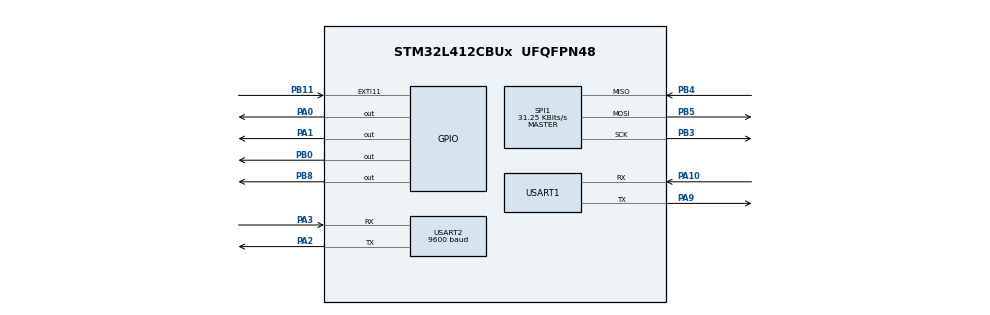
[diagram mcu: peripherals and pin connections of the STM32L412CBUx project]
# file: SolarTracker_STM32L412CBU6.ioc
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FREERTOS.CountingSemaphores01=spi_sem,1,Dynamic,NULL;uart_sem,1,Dynamic,NULL;external_sem,1,Dynamic,NULL
FREERTOS.Mutexes01=spi_mutex,Dynamic,NULL
FREERTOS.Tasks01=uart1Task,0,512,Startuart1Task,Default,NULL,Dynamic,NULL,NULL;uart2Task,0,512,Startuart2Task,Default,NULL,Dynamic,NULL,NULL;spi1Task,0,512,startspi1Task,Default,NULL,Dynamic,NULL,NULL
FREERTOS.configTOTAL_HEAP_SIZE=10000
FREERTOS.configUSE_COUNTING_SEMAPHORES=1
FREERTOS.configUSE_MUTEXES=1
FREERTOS.configUSE_NEWLIB_REENTRANT=1
Mcu.Family=STM32L4
Mcu.Name=STM32L412CBUx
Mcu.Package=UFQFPN48
NVIC.EXTI15_10_IRQn=true\:5\:0\:false\:false\:true\:true\:true\:true\:true
NVIC.PriorityGroup=NVIC_PRIORITYGROUP_4
NVIC.SPI1_IRQn=true\:5\:0\:false\:false\:true\:true\:true\:true\:true
NVIC.TIM1_UP_TIM16_IRQn=true\:15\:0\:false\:false\:true\:false\:false\:true\:true
NVIC.TimeBase=TIM1_UP_TIM16_IRQn
NVIC.TimeBaseIP=TIM1
PA0.Signal=GPIO_Output
PA1.Signal=GPIO_Output
PA10.Mode=Asynchronous
PA10.Signal=USART1_RX
PA13\ (JTMS/SWDIO).Mode=Serial_Wire
PA13\ (JTMS/SWDIO).Signal=SYS_JTMS-SWDIO
PA14\ (JTCK/SWCLK).Mode=Serial_Wire
PA14\ (JTCK/SWCLK).Signal=SYS_JTCK-SWCLK
PA2.Mode=Asynchronous
PA2.Signal=USART2_TX
PA3.Mode=Asynchronous
PA3.Signal=USART2_RX
PA9.Mode=Asynchronous
PA9.Signal=USART1_TX
PB0.Signal=GPIO_Output
PB11.GPIO_PuPd=GPIO_PULLDOWN
PB11.Signal=GPXTI11
PB3\ (JTDO/TRACESWO).Mode=Full_Duplex_Master
PB3\ (JTDO/TRACESWO).Signal=SPI1_SCK
PB4\ (NJTRST).Mode=Full_Duplex_Master
PB4\ (NJTRST).Signal=SPI1_MISO
PB5.Mode=Full_Duplex_Master
PB5.Signal=SPI1_MOSI
PB8.Signal=GPIO_Output
PC14-OSC32_IN\ (PC14).Mode=LSE-External-Oscillator
PC14-OSC32_IN\ (PC14).Signal=RCC_OSC32_IN
PC15-OSC32_OUT\ (PC15).Mode=LSE-External-Oscillator
PC15-OSC32_OUT\ (PC15).Signal=RCC_OSC32_OUT
ProjectManager.HeapSize=0x200
ProjectManager.StackSize=0x400
ProjectManager.TargetToolchain=STM32CubeIDE
RCC.ADCFreq_Value=4000000
RCC.HSE_VALUE=8000000
RCC.HSI48_VALUE=48000000
RCC.HSI_VALUE=16000000
RCC.MSI_VALUE=4000000
RCC.USBFreq_Value=4000000
RCC.VCOOutputFreq_Value=32000000
SPI1.BaudRatePrescaler=SPI_BAUDRATEPRESCALER_128
SPI1.CalculateBaudRate=31.25 KBits/s
SPI1.DataSize=SPI_DATASIZE_8BIT
SPI1.Direction=SPI_DIRECTION_2LINES
SPI1.Mode=SPI_MODE_MASTER
SPI1.NSSPMode=SPI_NSS_PULSE_DISABLE
SPI1.VirtualType=VM_MASTER
USART1.VirtualMode-Asynchronous=VM_ASYNC
USART2.BaudRate=9600
USART2.VirtualMode-Asynchronous=VM_ASYNC
VP_FREERTOS_VS_CMSIS_V1.Mode=CMSIS_V1
VP_SYS_VS_tim1.Mode=TIM1
board=custom

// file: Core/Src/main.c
/* USER CODE BEGIN Header */
/**
  ******************************************************************************
  * @file           : main.c
  * @brief          : Main program body
  ******************************************************************************
  * @attention
  *
  * Copyright (c) 2022 STMicroelectronics.
  * All rights reserved.
  *
  * This software is licensed under terms that can be found in the LICENSE file
  * in the root directory of this software component.
  * If no LICENSE file comes with this software, it is provided AS-IS.
  *
  ******************************************************************************
  */
/* USER CODE END Header */
#include "main.h"
#include "cmsis_os.h"

/* USER CODE BEGIN Includes */
#include <stdio.h>
#include <string.h>
#include <stdlib.h>
/* USER CODE END Includes */

/* USER CODE BEGIN PD */
#define NMEA_LEN	80
/* USER CODE END PD */

/* USER CODE BEGIN PM */
#define FIND_AND_NUL(s, p, c) ( \
   (p) = strchr(s, c), \
   *(p) = '\0', \
   ++(p), \
   (p))
/* USER CODE END PM */

 SPI_HandleTypeDef hspi1;

UART_HandleTypeDef huart1;
UART_HandleTypeDef huart2;

osThreadId uart1TaskHandle;
osThreadId uart2TaskHandle;
osThreadId spi1TaskHandle;
osMutexId spi_mutexHandle;
osSemaphoreId spi_semHandle;
osSemaphoreId uart_semHandle;
osSemaphoreId external_semHandle;
/* USER CODE BEGIN PV */

// FM25V02A FRAM SPI Commands
const uint8_t READ = 0b00000011;
const uint8_t WRITE = 0b00000010;
const uint8_t WREN = 0b00000110;
const uint8_t RDSR = 0b00000101;
const uint8_t WRSR = 0b00000001;
const uint8_t FSTRD = 0b00001011;
const uint8_t SLEEP = 0b10111001;
const uint8_t RDID = 0b10011111;

SerialBuffer SerialBufferReceived;
SerialBuffer test_spi_buf;
volatile uint32_t tim1_counter = 0;
/* USER CODE END PV */

void SystemClock_Config(void);
static void MX_GPIO_Init(void);
static void MX_SPI1_Init(void);
static void MX_USART1_UART_Init(void);
static void MX_USART2_UART_Init(void);
void Startuart1Task(void const * argument);
void Startuart2Task(void const * argument);
void startspi1Task(void const * argument);

/* USER CODE BEGIN PFP */
static uint16_t Buffercmp(uint8_t* pBuffer1, uint8_t* pBuffer2, uint16_t BufferLength);
float GpsToDecimalDegrees(char* nmeaPos, char quadrant);
/* USER CODE END PFP */

/* USER CODE BEGIN 0 */
QueueHandle_t xQueueSerialDataReceived;

/**
 * Convert NMEA absolute position to decimal degrees
 * "ddmm.mmmm" or "dddmm.mmmm" really is D+M/60,
 * then negated if quadrant is 'W' or 'S'
 */
float GpsToDecimalDegrees(char* nmeaPos, char quadrant)
{
  float v= 0;
  if(strlen(nmeaPos)>5)
  {
    char integerPart[3+1];
    int digitCount= (nmeaPos[4]=='.' ? 2 : 3);
    memcpy(integerPart, nmeaPos, digitCount);
    integerPart[digitCount]= 0;
    nmeaPos+= digitCount;
    v= atoi(integerPart) + atof(nmeaPos)/60.;
    if(quadrant=='W' || quadrant=='S')
      v= -v;
  }
  return v;
}

/* USER CODE END 0 */

int main(void)
{

  /* MCU Configuration--------------------------------------------------------*/

  /* Reset of all peripherals, Initializes the Flash interface and the Systick. */
  HAL_Init();

  /* Configure the system clock */
  SystemClock_Config();

  /* Initialize all configured peripherals */
  MX_GPIO_Init();
  MX_SPI1_Init();
  MX_USART1_UART_Init();
  MX_USART2_UART_Init();
  /* USER CODE BEGIN 2 */

  //Enable Uart Interrupts
  HAL_NVIC_SetPriority(USART_GPS_IRQn, 12, 0);
  HAL_NVIC_EnableIRQ(USART_GPS_IRQn);
  USART_GPS->CR1 |= USART_CR1_RXNEIE; // Enable Interrupt
  HAL_NVIC_SetPriorityGrouping(NVIC_PRIORITYGROUP_4);

  /* USER CODE END 2 */

  /* Create the mutex(es) */
  /* definition and creation of spi_mutex */
  osMutexDef(spi_mutex);
  spi_mutexHandle = osMutexCreate(osMutex(spi_mutex));

  /* Create the semaphores(s) */
//  /* definition and creation of spi_sem */
//  osSemaphoreDef(spi_sem);
//  spi_semHandle = osSemaphoreCreate(osSemaphore(spi_sem), 1);
//
//  /* definition and creation of uart_sem */
//  osSemaphoreDef(uart_sem);
//  uart_semHandle = osSemaphoreCreate(osSemaphore(uart_sem), 1);
//
//  /* definition and creation of external_sem */
//  osSemaphoreDef(external_sem);
//  external_semHandle = osSemaphoreCreate(osSemaphore(external_sem), 1);

  /* USER CODE BEGIN RTOS_SEMAPHORES */
  /* add semaphores, ... */
  spi_semHandle = xSemaphoreCreateCounting( 1, 0 );
  uart_semHandle = xSemaphoreCreateCounting( 1, 1 );
  external_semHandle = xSemaphoreCreateCounting( 1, 0 );
  /* USER CODE END RTOS_SEMAPHORES */

  /* USER CODE BEGIN RTOS_QUEUES */
  /* add queues, ... */
  xQueueSerialDataReceived = xQueueCreate( 2, sizeof( SerialBuffer) );
  /* USER CODE END RTOS_QUEUES */

  /* Create the thread(s) */
  /* definition and creation of uart1Task */
  osThreadDef(uart1Task, Startuart1Task, osPriorityHigh, 0, 512);
  uart1TaskHandle = osThreadCreate(osThread(uart1Task), NULL);

  /* definition and creation of uart2Task */
  osThreadDef(uart2Task, Startuart2Task, osPriorityNormal, 0, 512);
  uart2TaskHandle = osThreadCreate(osThread(uart2Task), NULL);

  /* definition and creation of spi1Task */
  osThreadDef(spi1Task, startspi1Task, osPriorityNormal, 0, 512);
  spi1TaskHandle = osThreadCreate(osThread(spi1Task), NULL);

  /* Start scheduler */
  osKernelStart();

  /* We should never get here as control is now taken by the scheduler */
  /* Infinite loop */
  while (1)
  {

  }
}

void SystemClock_Config(void)
{
  RCC_OscInitTypeDef RCC_OscInitStruct = {0};
  RCC_ClkInitTypeDef RCC_ClkInitStruct = {0};

  /** Configure the main internal regulator output voltage
  */
  if (HAL_PWREx_ControlVoltageScaling(PWR_REGULATOR_VOLTAGE_SCALE1) != HAL_OK)
  {
    Error_Handler();
  }

  /** Configure LSE Drive Capability
  */
  HAL_PWR_EnableBkUpAccess();
  __HAL_RCC_LSEDRIVE_CONFIG(RCC_LSEDRIVE_LOW);

  /** Initializes the RCC Oscillators according to the specified parameters
  * in the RCC_OscInitTypeDef structure.
  */
  RCC_OscInitStruct.OscillatorType = RCC_OSCILLATORTYPE_LSE|RCC_OSCILLATORTYPE_MSI;
  RCC_OscInitStruct.LSEState = RCC_LSE_ON;
  RCC_OscInitStruct.MSIState = RCC_MSI_ON;
  RCC_OscInitStruct.MSICalibrationValue = 0;
  RCC_OscInitStruct.MSIClockRange = RCC_MSIRANGE_6;
  RCC_OscInitStruct.PLL.PLLState = RCC_PLL_NONE;
  if (HAL_RCC_OscConfig(&RCC_OscInitStruct) != HAL_OK)
  {
    Error_Handler();
  }

  /** Initializes the CPU, AHB and APB buses clocks
  */
  RCC_ClkInitStruct.ClockType = RCC_CLOCKTYPE_HCLK|RCC_CLOCKTYPE_SYSCLK
                              |RCC_CLOCKTYPE_PCLK1|RCC_CLOCKTYPE_PCLK2;
  RCC_ClkInitStruct.SYSCLKSource = RCC_SYSCLKSOURCE_MSI;
  RCC_ClkInitStruct.AHBCLKDivider = RCC_SYSCLK_DIV1;
  RCC_ClkInitStruct.APB1CLKDivider = RCC_HCLK_DIV1;
  RCC_ClkInitStruct.APB2CLKDivider = RCC_HCLK_DIV1;

  if (HAL_RCC_ClockConfig(&RCC_ClkInitStruct, FLASH_LATENCY_0) != HAL_OK)
  {
    Error_Handler();
  }

  /** Enable MSI Auto calibration
  */
  HAL_RCCEx_EnableMSIPLLMode();
}

static void MX_SPI1_Init(void)
{

  /* SPI1 parameter configuration*/
  hspi1.Instance = SPI1;
  hspi1.Init.Mode = SPI_MODE_MASTER;
  hspi1.Init.Direction = SPI_DIRECTION_2LINES;
  hspi1.Init.DataSize = SPI_DATASIZE_8BIT;
  hspi1.Init.CLKPolarity = SPI_POLARITY_LOW;
  hspi1.Init.CLKPhase = SPI_PHASE_1EDGE;
  hspi1.Init.NSS = SPI_NSS_SOFT;
  hspi1.Init.BaudRatePrescaler = SPI_BAUDRATEPRESCALER_256; //TODO Check if this does anything
  hspi1.Init.FirstBit = SPI_FIRSTBIT_MSB;
  hspi1.Init.TIMode = SPI_TIMODE_DISABLE;
  hspi1.Init.CRCCalculation = SPI_CRCCALCULATION_DISABLE;
  hspi1.Init.CRCPolynomial = 7;
  hspi1.Init.CRCLength = SPI_CRC_LENGTH_DATASIZE;
  hspi1.Init.NSSPMode = SPI_NSS_PULSE_DISABLE;
  if (HAL_SPI_Init(&hspi1) != HAL_OK)
  {
    Error_Handler();
  }
  /* USER CODE BEGIN SPI1_Init 2 */
  SPI1->CR1 |= SPI_CR1_SSM;
  /* USER CODE END SPI1_Init 2 */

}

static void MX_USART1_UART_Init(void)
{

  huart1.Instance = USART1;
  huart1.Init.BaudRate = 9600;
  huart1.Init.WordLength = UART_WORDLENGTH_8B;
  huart1.Init.StopBits = UART_STOPBITS_1;
  huart1.Init.Parity = UART_PARITY_NONE;
  huart1.Init.Mode = UART_MODE_TX_RX;
  huart1.Init.HwFlowCtl = UART_HWCONTROL_NONE;
  huart1.Init.OverSampling = UART_OVERSAMPLING_16;
  huart1.Init.OneBitSampling = UART_ONE_BIT_SAMPLE_DISABLE;
  huart1.AdvancedInit.AdvFeatureInit = UART_ADVFEATURE_NO_INIT;
  if (HAL_UART_Init(&huart1) != HAL_OK)
  {
    Error_Handler();
  }

}

static void MX_USART2_UART_Init(void)
{

  huart2.Instance = USART2;
  huart2.Init.BaudRate = 9600;
  huart2.Init.WordLength = UART_WORDLENGTH_8B;
  huart2.Init.StopBits = UART_STOPBITS_1;
  huart2.Init.Parity = UART_PARITY_NONE;
  huart2.Init.Mode = UART_MODE_TX_RX;
  huart2.Init.HwFlowCtl = UART_HWCONTROL_NONE;
  huart2.Init.OverSampling = UART_OVERSAMPLING_16;
  huart2.Init.OneBitSampling = UART_ONE_BIT_SAMPLE_DISABLE;
  huart2.AdvancedInit.AdvFeatureInit = UART_ADVFEATURE_NO_INIT;
  if (HAL_UART_Init(&huart2) != HAL_OK)
  {
    Error_Handler();
  }

}

static void MX_GPIO_Init(void)
{
  GPIO_InitTypeDef GPIO_InitStruct = {0};

  /* GPIO Ports Clock Enable */
  __HAL_RCC_GPIOC_CLK_ENABLE();
  __HAL_RCC_GPIOA_CLK_ENABLE();
  __HAL_RCC_GPIOB_CLK_ENABLE();

  /*Configure GPIO pin Output Level */
  HAL_GPIO_WritePin(GPIOA, GPIO_PIN_0|GPIO_PIN_1, GPIO_PIN_RESET);

  /*Configure GPIO pin Output Level */
  HAL_GPIO_WritePin(GPIOB, GPIO_PIN_0|GPIO_PIN_8, GPIO_PIN_RESET);

  /*Configure GPIO pins : PA0 PA1 */
  GPIO_InitStruct.Pin = GPIO_PIN_0|GPIO_PIN_1;
  GPIO_InitStruct.Mode = GPIO_MODE_OUTPUT_PP;
  GPIO_InitStruct.Pull = GPIO_NOPULL;
  GPIO_InitStruct.Speed = GPIO_SPEED_FREQ_LOW;
  HAL_GPIO_Init(GPIOA, &GPIO_InitStruct);

  /*Configure GPIO pins : PB0 PB8 */
  GPIO_InitStruct.Pin = GPIO_PIN_0|GPIO_PIN_8;
  GPIO_InitStruct.Mode = GPIO_MODE_OUTPUT_PP;
  GPIO_InitStruct.Pull = GPIO_NOPULL;
  GPIO_InitStruct.Speed = GPIO_SPEED_FREQ_LOW;
  HAL_GPIO_Init(GPIOB, &GPIO_InitStruct);

  /*Configure GPIO pin : PB11 */
  GPIO_InitStruct.Pin = GPIO_PIN_11;
  GPIO_InitStruct.Mode = GPIO_MODE_IT_RISING;
  GPIO_InitStruct.Pull = GPIO_PULLDOWN;
  HAL_GPIO_Init(GPIOB, &GPIO_InitStruct);

  /* EXTI interrupt init*/
  HAL_NVIC_SetPriority(EXTI15_10_IRQn, 5, 0);
  HAL_NVIC_EnableIRQ(EXTI15_10_IRQn);

}

/* USER CODE BEGIN 4 */
void USART_GPS_IRQHandler(void) // Sync and Queue NMEA Sentences
{
	BaseType_t xHigherPriorityTaskWoken = pdFALSE;
	static char rx_buffer[LINEMAX + 1]; // Local holding buffer to build line, w/NUL
	static int rx_index = 0;
	if (USART_GPS->ISR & USART_ISR_ORE) // Overrun Error
		USART_GPS->ICR = USART_ICR_ORECF;
	if (USART_GPS->ISR & USART_ISR_NE) // Noise Error
		USART_GPS->ICR = USART_ICR_NCF;
	if (USART_GPS->ISR & USART_ISR_FE) // Framing Error
		USART_GPS->ICR = USART_ICR_FECF;
	if (USART_GPS->ISR & USART_ISR_RXNE) // Received character?
	{
		char rx = (char)(USART_GPS->RDR & 0xFF);
		if ((rx == '\r') || (rx == '\n')) // Is this an end-of-line condition, either will suffice?
		{
			if (rx_index != 0) // Line has some content?
			{
				rx_buffer[rx_index++] = 0; // Add NUL if required down stream
				//QueueBuffer(rx_buffer, rx_index); // Copy to queue from live dynamic receive buffer
				xQueueSendFromISR(xQueueSerialDataReceived,(void *)&rx_buffer,&xHigherPriorityTaskWoken);
				rx_index = 0; // Reset content pointer
				got_nmea = 1;
			}
		}
		else
		{
			if ((rx == '$') || (rx_index == LINEMAX)) // If resync or overflows pull back to start
				rx_index = 0;
			rx_buffer[rx_index++] = rx; // Copy to buffer and increment
		}
	}
}

/**
  * @brief EXTI line detection callbacks
  * @param GPIO_Pin: Specifies the pins connected EXTI line
  * @retval None
  */
void HAL_GPIO_EXTI_Callback(uint16_t GPIO_Pin)
{
  if(GPIO_Pin == GPIO_PIN_11)
  {
	  xSemaphoreGiveFromISR(external_semHandle, NULL);
  }
}

/* USER CODE END 4 */

void Startuart1Task(void const * argument)
{
  /* USER CODE BEGIN 5 */
	static uint16_t spi_gps_read_addr = 0;
	static SerialBuffer gps_ext_buffer;
	static int statusbuf[8];
	int num_messages = 390; //Number of FRAM messages for offset 72B -> 256KB storage = 390
	//Code used for external UART write, reading SPI data
	uint8_t addr_msb = 0;
	uint8_t addr_lsb = 0;
  /* Infinite loop */
	for(;;)
	{
		xSemaphoreTake(external_semHandle, portMAX_DELAY);
		//Take both semaphores to keep other tasks from running (might be unnecessary bc higher priority)
		//xSemaphoreTake(uart_semHandle, portMAX_DELAY);
		//xSemaphoreTake(spi_semHandle, portMAX_DELAY);
		USART_GPS->CR1 &= ~(USART_CR1_RXNEIE); // Disable UART Interrupt
		spi_gps_read_addr = 0;

		for(int i = 0; i < num_messages; i++){

			addr_msb = (spi_gps_read_addr >> 8) & 0xFF;
			addr_lsb = spi_gps_read_addr & 0xFF;

			//Read NMEA_LEN bytes of data
			HAL_GPIO_WritePin(GPIOB, GPIO_PIN_0, GPIO_PIN_RESET);
			HAL_SPI_Transmit(&hspi1, (uint8_t *)&READ, 1, 100);
			HAL_SPI_Transmit(&hspi1, (uint8_t *)&addr_msb, 1, 100); //Send Address MSBs
			HAL_SPI_Transmit(&hspi1, (uint8_t *)&addr_lsb, 1, 100); //Send Address LSBs
			HAL_SPI_Receive(&hspi1, (uint8_t *)&gps_ext_buffer.Buffer, NMEA_LEN, 100);
			HAL_GPIO_WritePin(GPIOB, GPIO_PIN_0, GPIO_PIN_SET);

			spi_gps_read_addr += NMEA_LEN; //Increase offset to read next data value

//			// Read status register
//			HAL_GPIO_WritePin(GPIOB, GPIO_PIN_0, GPIO_PIN_RESET);
//			HAL_SPI_Transmit(&hspi1, (uint8_t *)&RDSR, 1, 100);
//			HAL_SPI_Receive(&hspi1, (uint8_t *)statusbuf, 1, 100);
//			HAL_GPIO_WritePin(GPIOB, GPIO_PIN_0, GPIO_PIN_SET);

			//Write NMEA message to external UART
			HAL_UART_Transmit(&huart1, (uint8_t*)&gps_ext_buffer.Buffer, NMEA_LEN, 100);
		}

		//Let other tasks continue running
		USART_GPS->CR1 |= USART_CR1_RXNEIE; // Enable UART Interrupt
		//xSemaphoreGive(uart_semHandle);
		//xSemaphoreGive(spi_semHandle);

	}
  /* USER CODE END 5 */
}

void Startuart2Task(void const * argument)
{
  /* USER CODE BEGIN Startuart2Task */
	float latitude, longitude;

	char* message_id, *time, *data_valid, *raw_latitude, *raw_longitude, *latdir, *longdir;

	//Set RF Switch to 0 for internal antenna:
	HAL_GPIO_WritePin(GPIOB, GPIO_PIN_8, GPIO_PIN_RESET);

	/* Infinite loop */
	for(;;)
	{
	  if(uxQueueMessagesWaitingFromISR(xQueueSerialDataReceived)>0)
	  {

		  xQueueReceive(xQueueSerialDataReceived,&(SerialBufferReceived),1);
		  //Fill and check header
		  for(int c = 0; c < 6; c++){
			  nmea_header[c] = SerialBufferReceived.Buffer[c];
		  }
		  if(!strcmp(nmea_header, "$GPRMC")){
			  if(SerialBufferReceived.Buffer[18] == 'V'){
				  //No fix, turn on LED
				  HAL_GPIO_WritePin(GPIOA, GPIO_PIN_0, GPIO_PIN_SET);

			  }
			  if(SerialBufferReceived.Buffer[18] == 'A'){
				  //Got a fix, turn off LED
				  HAL_GPIO_WritePin(GPIOA, GPIO_PIN_0, GPIO_PIN_RESET);
//
//				  message_id = SerialBufferReceived.Buffer;
//				  time = FIND_AND_NUL(message_id, time, ',');
//				  data_valid = FIND_AND_NUL(time, data_valid, ',');
//				  raw_latitude = FIND_AND_NUL(data_valid, raw_latitude, ',');
//				  latdir = FIND_AND_NUL(raw_latitude, latdir, ',');
//				  raw_longitude = FIND_AND_NUL(latdir, raw_longitude, ',');
//				  longdir = FIND_AND_NUL(raw_longitude, longdir, ',');
//
//				  latitude = GpsToDecimalDegrees(raw_latitude, *latdir);
//				  longitude = GpsToDecimalDegrees(raw_longitude, *longdir);

				  if(tim1_counter > 5000){ //Post SPI write semaphore every 5s there is a valid message
					  xSemaphoreGive(spi_semHandle);
					  tim1_counter = 0;
					  xSemaphoreTake(uart_semHandle, portMAX_DELAY); //Wait until SPI is posted
				  }
			  }
		  }
		  got_nmea=0;
	  }
	//osDelay(1);
	}
  /* USER CODE END Startuart2Task */
}

void startspi1Task(void const * argument)
{
  /* USER CODE BEGIN startspi1Task */
	HAL_StatusTypeDef response = HAL_ERROR;

	//SPI Initialization **************************
	//Write CS Pin high
	HAL_GPIO_WritePin(GPIOB, GPIO_PIN_0, GPIO_PIN_SET);
	// Enable write enable latch (allow write operations)
	HAL_GPIO_WritePin(GPIOB, GPIO_PIN_0, GPIO_PIN_RESET);
	HAL_SPI_Transmit(&hspi1, (uint8_t *)&WREN, 1, 100);
	HAL_GPIO_WritePin(GPIOB, GPIO_PIN_0, GPIO_PIN_SET);

	// Test bytes to write to EEPROM
	spi_mout_buf[0] = 0xAB;
	spi_mout_buf[1] = 0xCD;
	spi_mout_buf[2] = 0xEF;

	// Write 3 bytes starting at given address
	HAL_GPIO_WritePin(GPIOB, GPIO_PIN_0, GPIO_PIN_RESET);
	HAL_SPI_Transmit(&hspi1, (uint8_t *)&WRITE, 1, 100);
	HAL_SPI_Transmit(&hspi1, (uint8_t *)&spi_addr, 2, 100);
	HAL_SPI_Transmit(&hspi1, (uint8_t *)spi_mout_buf, 3, 100);
	HAL_GPIO_WritePin(GPIOB, GPIO_PIN_0, GPIO_PIN_SET);
	//IO Driver for output pin enable

	// Clear buffer
	spi_mout_buf[0] = 0;
	spi_mout_buf[1] = 0;
	spi_mout_buf[2] = 0;

	// Wait until WIP bit is cleared
	spi_wip = 1;
	while (spi_wip)
	{
	 // Read status register
	 HAL_GPIO_WritePin(GPIOB, GPIO_PIN_0, GPIO_PIN_RESET);
	 HAL_SPI_Transmit(&hspi1, (uint8_t *)&RDSR, 1, 100);
	 response = HAL_SPI_Receive(&hspi1, (uint8_t *)spi_mout_buf, 1, 100);
	 if (response == HAL_OK) {
	  printf("Status Reg: %02x \r\n", spi_mout_buf[0]);
	 } else {
	  printf("Got error response as %d\r\n", response);
	 }
	 HAL_GPIO_WritePin(GPIOB, GPIO_PIN_0, GPIO_PIN_SET);

	 // Mask out WIP bit
	 spi_wip = spi_mout_buf[0] & 0b00000001;
	}

	// Read the 3 bytes back
	HAL_GPIO_WritePin(GPIOB, GPIO_PIN_0, GPIO_PIN_RESET);
	HAL_SPI_Transmit(&hspi1, (uint8_t *)&READ, 1, 100);
	HAL_SPI_Transmit(&hspi1, (uint8_t *)&spi_addr, 2, 100);
	HAL_SPI_Receive(&hspi1, (uint8_t *)spi_mout_buf, 3, 100);
	HAL_GPIO_WritePin(GPIOB, GPIO_PIN_0, GPIO_PIN_SET);

	// Read status register
	HAL_GPIO_WritePin(GPIOB, GPIO_PIN_0, GPIO_PIN_RESET);
	HAL_SPI_Transmit(&hspi1, (uint8_t *)&RDSR, 1, 100);
	HAL_SPI_Receive(&hspi1, (uint8_t *)spi_mout_buf, 1, 100);
	HAL_GPIO_WritePin(GPIOB, GPIO_PIN_0, GPIO_PIN_SET);

	uint8_t addr_msb = 0;
	uint8_t addr_lsb = 0;

	/* Infinite loop */
	for(;;)
	{
	  //osStatus stat = osSemaphoreAcquire(SPI_semHandle, osWaitForever); //Wait for nmea sem to be posted
		xSemaphoreTake(spi_semHandle, portMAX_DELAY);
	  //osDelay(1);

	  //Send over SPI to FRAM
	  //osSemaphoreRelease(UART_semHandle); //Tell UART to gather more data
		//Set Write enable latch
		HAL_GPIO_WritePin(GPIOB, GPIO_PIN_0, GPIO_PIN_RESET);
		HAL_SPI_Transmit_IT(&hspi1, (uint8_t *)&WREN, 1);
		HAL_GPIO_WritePin(GPIOB, GPIO_PIN_0, GPIO_PIN_SET);

		addr_msb = (spi_addr >> 8) & 0xFF;
		addr_lsb = spi_addr & 0xFF;
		// Write 64 bytes starting at given address
		HAL_GPIO_WritePin(GPIOB, GPIO_PIN_0, GPIO_PIN_RESET);
		HAL_SPI_Transmit(&hspi1, (uint8_t *)&WRITE, 1, 100);
//		HAL_SPI_Transmit(&hspi1, (uint8_t *)&spi_addr, 2, 100);
		HAL_SPI_Transmit(&hspi1, (uint8_t *)&addr_msb, 1, 100); //Send Address MSBs
		HAL_SPI_Transmit(&hspi1, (uint8_t *)&addr_lsb, 1, 100); //Send Address LSBs
		HAL_SPI_Transmit(&hspi1, (uint8_t *)&SerialBufferReceived.Buffer, NMEA_LEN, 100);
		HAL_GPIO_WritePin(GPIOB, GPIO_PIN_0, GPIO_PIN_SET);

//		// TEST READ ECHO
//		HAL_GPIO_WritePin(GPIOB, GPIO_PIN_0, GPIO_PIN_RESET);
//		HAL_SPI_Transmit(&hspi1, (uint8_t *)&READ, 1, 100);
//		HAL_SPI_Transmit(&hspi1, (uint8_t *)&spi_addr, 2, 100);
//		HAL_SPI_Receive(&hspi1, (uint8_t *)&test_spi_buf.Buffer, NMEA_LEN, 100);
//		HAL_GPIO_WritePin(GPIOB, GPIO_PIN_0, GPIO_PIN_SET);

		spi_addr += NMEA_LEN; //Offset within destination device to hold NMEA message

		if(spi_addr > 0x7FFF) spi_addr = 0;

		xSemaphoreGive(uart_semHandle);

		//Blink LED to signal SPI write happened
		HAL_GPIO_WritePin(GPIOA, GPIO_PIN_1, GPIO_PIN_SET);
		vTaskDelay( 200 / portTICK_PERIOD_MS );
		HAL_GPIO_WritePin(GPIOA, GPIO_PIN_1, GPIO_PIN_RESET);
	}
  /* USER CODE END startspi1Task */
}

void HAL_TIM_PeriodElapsedCallback(TIM_HandleTypeDef *htim)
{
  /* USER CODE BEGIN Callback 0 */
	tim1_counter++; //Incrementing at 1kHz (1000 in 1 second)
  /* USER CODE END Callback 0 */
  if (htim->Instance == TIM1) {
    HAL_IncTick();
  }
}

void Error_Handler(void)
{
  __disable_irq();
  while (1)
  {
  }
}
